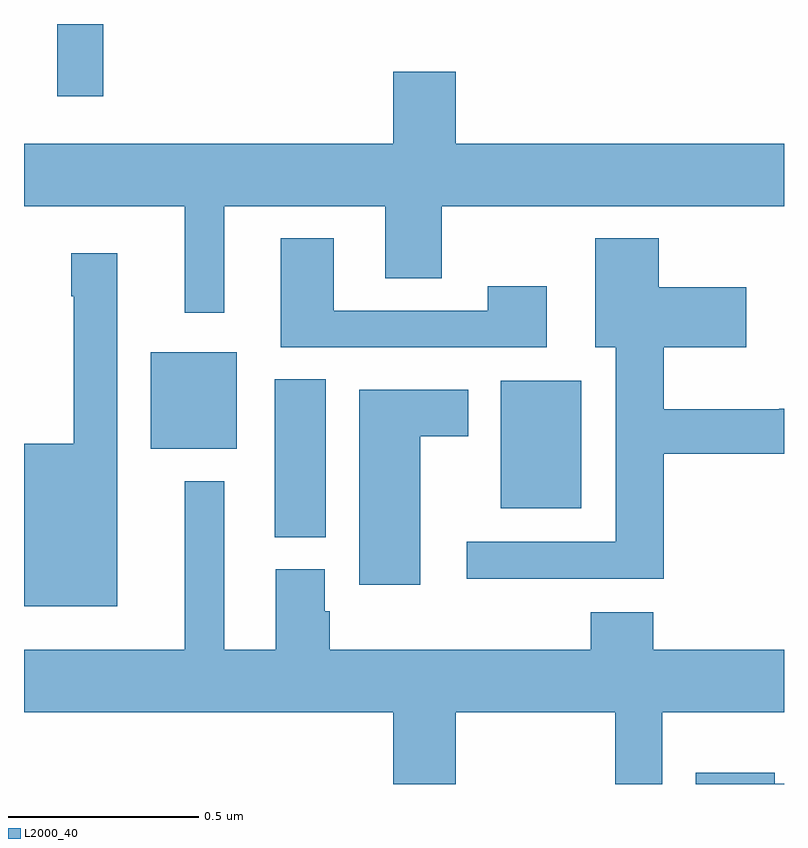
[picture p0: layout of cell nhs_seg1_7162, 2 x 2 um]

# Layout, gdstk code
import gdstk
lib = gdstk.Library(unit=1e-6, precision=1e-09)
def R(c, l, rs):  # rectangles x0, y0, x1, y1
    for r in rs: c.add(gdstk.rectangle(r[:2], r[2:], *l))
def P(c, l, *ps):  # polygons
    for p in ps: c.add(gdstk.Polygon(p, *l))
L2000_40 = (2000, 40)

nhs_seg1_7162 = lib.new_cell('nhs_seg1_7162')
R(nhs_seg1_7162, L2000_40, [(200.66,562.849,200.794,563.264), (201.254,562.925,201.466,563.26), (200.333,563.081,200.56,563.335), (200.087,564.009,200.209,564.199)])
P(nhs_seg1_7162, L2000_40, [(200.527,563.72),(200.951,563.72),(200.951,563.53),(201.099,563.53),(201.099,563.72),(202,563.72),(202,563.884),(201.136,563.884),(201.136,564.073),(200.972,564.073),(200.972,563.884),(200,563.884),(200,563.72),(200.423,563.72),(200.423,563.439),(200.527,563.439)],
  [(201.683,563.068),(202,563.068),(202,563.186),(201.988,563.186),(201.988,563.185),(201.683,563.185),(201.683,563.348),(201.901,563.348),(201.901,563.506),(201.67,563.506),(201.67,563.635),(201.503,563.635),(201.503,563.348),(201.557,563.348),(201.557,562.836),(201.165,562.836),(201.165,562.739),(201.683,562.739)],
  [(201.376,563.509),(201.22,563.509),(201.22,563.445),(200.815,563.445),(200.815,563.635),(200.675,563.635),(200.675,563.349),(201.376,563.349)],
  [(200.245,563.596),(200.124,563.596),(200.124,563.483),(200.131,563.483),(200.131,563.095),(200,563.095),(200,562.667),(200.245,562.667)],
  [(201.043,563.114),(201.169,563.114),(201.169,563.236),(200.882,563.236),(200.882,562.724),(201.043,562.724)],
  [(201.136,562.388),(201.556,562.388),(201.556,562.199),(201.679,562.199),(201.679,562.388),(202,562.388),(202,562.552),(201.656,562.552),(201.656,562.651),(201.491,562.651),(201.491,562.552),(200.804,562.552),(200.804,562.653),(200.791,562.653),(200.791,562.764),(200.663,562.764),(200.663,562.552),(200.527,562.552),(200.527,562.996),(200.423,562.996),(200.423,562.552),(200,562.552),(200,562.388),(200.972,562.388),(200.972,562.199),(201.136,562.199)],
  [(202,562.2),(201.975,562.2),(201.975,562.228),(201.768,562.228),(201.768,562.199),(202,562.199)])

lib.write_gds('nhs_seg1_7162.gds')
